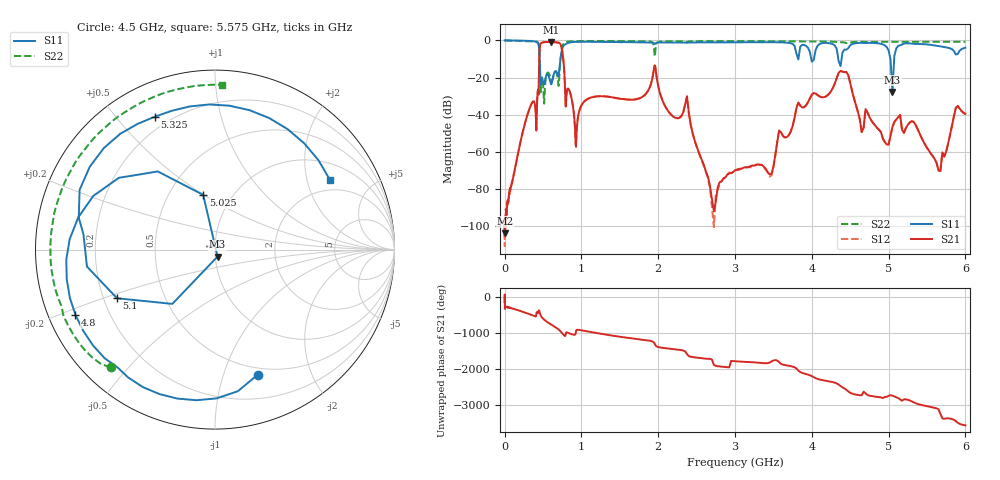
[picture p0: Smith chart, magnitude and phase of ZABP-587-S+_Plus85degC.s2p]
! Mini-Circuits
! S2P DATA File Format
! Type: BAND PASS FILTER
! Model: ZABP-587-S+
! All S Parameters are in MAG PHASE format
! TEST CONDITIONS: INPUT POWER = 0 dBm @ Temperature = +85deg C
# MHz S DB R 50
!FREQ  MAG(S11)PHS(S11) MAG(S21)PHS(S21)MAG(S12)PHS(S12)MAG(S22)PHS(S22)
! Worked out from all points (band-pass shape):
!   1001 points, 500 kHz to 6 GHz, reference 50 ohm
!   highest |S21| = -0.79 dB at 606 MHz (marker M1); lowest = -103.8 dB at 4.5 MHz (marker M2)
!   |S21| within 3 dB of the highest: 458.4 MHz to 742.3 MHz (283.9 MHz wide, 47.3 % of centre)
!   lowest |S11| = -27.7 dB at 5.05 GHz (marker M3), VSWR 1.09, Z = 51.3 - j3.99 ohm
!   |S11| at or under -10 dB: 456 MHz to 727.5 MHz (271.5 MHz wide, 45.9 % of centre); 3.993 GHz to 4.027 GHz (34.2 MHz wide, 0.853 % of centre); 4.346 GHz to 4.388 GHz (42.44 MHz wide, 0.972 % of centre)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
!   |S22| runs from -34.0 to 0.0 dB; largest |S21 - S12| = 0.00088
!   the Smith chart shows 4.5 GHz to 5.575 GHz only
!   S11 on the Smith chart (normalised r, x): 4.5 GHz: 0.43, -1.31; 4.8 GHz: 0.08, -0.22; 5.025 GHz: 0.73, +0.50; 5.1 GHz: 0.26, -0.22; 5.325 GHz: 0.15, +0.64; 5.575 GHz: 1.57, +2.77
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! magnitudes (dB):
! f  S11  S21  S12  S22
! 500 kHz  0.0  -103.5  -105.4  0.0
! 2.5 MHz  0.0  -100.5  -110.8  0.0
! 4.5 MHz  0.0  -103.8  -106.8  0.0
! 15 MHz  0.0  -95.3  -90.8  0.0
! 55 MHz  0.0  -84.3  -86.2  0.0
! 265 MHz  -0.1  -44.7  -44.7  -0.4
! 413 MHz  -0.8  -48.4  -48.4  -0.6
! 462 MHz  -17.0  -2.6  -2.6  -16.0
! 606 MHz  -23.6  -0.8  -0.8  -21.2
! 739 MHz  -6.6  -3.3  -3.3  -6.6
! 930 MHz  -0.8  -57.2  -57.3  -0.3
! 1.255 GHz  -0.7  -30.0  -30.0  -0.3
! 1.955 GHz  -1.8  -13.5  -13.5  -8.6
! 2.775 GHz  -1.0  -79.2  -80.3  -0.4
! 4.5 GHz  -2.7  -22.8  -22.9  -1.1
! 4.8 GHz  -1.3  -44.5  -44.5  -0.7
! 5.025 GHz  -10.1  -51.3  -51.3  -0.7
! 5.05 GHz  -27.7  -46.6  -46.6  -0.7
! 5.1 GHz  -4.3  -42.5  -42.6  -0.7
! 5.325 GHz  -1.8  -43.8  -43.8  -0.8
! 5.575 GHz  -2.5  -62.2  -62.3  -0.7
! 6 GHz  -3.9  -39.6  -39.6  -0.7
